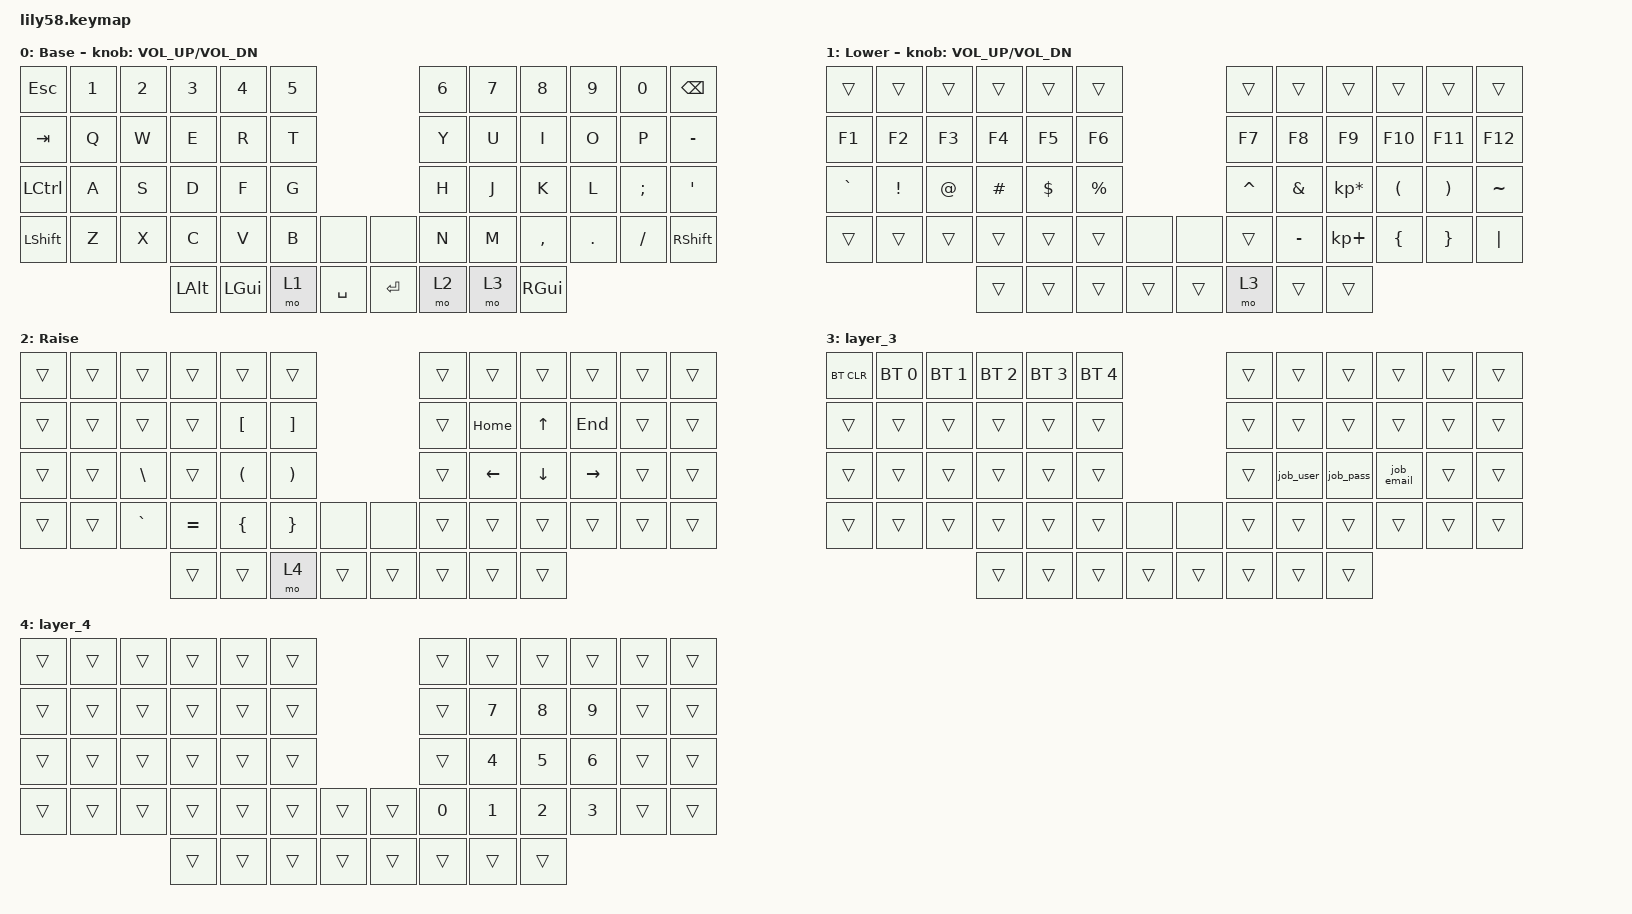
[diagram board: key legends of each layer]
/*
 * Copyright (c) 2020 The ZMK Contributors
 *
 * SPDX-License-Identifier: MIT
 */

#include <behaviors.dtsi>
#include <dt-bindings/zmk/bt.h>
#include <dt-bindings/zmk/keys.h>

/ {
    macros {
        job_user: job_user {
            compatible = "zmk,behavior-macro";
            #binding-cells = <0>;
            bindings = <&kp J &kp U &kp A &kp A &kp R &kp I &kp A &kp S>;
            label = "JOB_USER";
        };

        job_pass: job_pass {
            compatible = "zmk,behavior-macro";
            #binding-cells = <0>;
            bindings = <&kp MINUS &kp LS(S) &kp H &kp A &kp K &kp I &kp R &kp A &kp N0 &kp N9 &kp N8 &kp N7 &kp MINUS>;
            label = "JOB_PASS";
        };

        job_email: job_email {
            compatible = "zmk,behavior-macro";
            #binding-cells = <0>;
            bindings = <&kp J &kp U &kp A &kp N &kp DOT &kp J &kp A &kp R &kp I &kp A &kp S &kp AT &kp M &kp E &kp R &kp C &kp A &kp D &kp O &kp L &kp I &kp B &kp R &kp E &kp DOT &kp C &kp O &kp M &kp DOT &kp C &kp O>;
            label = "JOB_EMAIL";
        };
    };

    keymap {
        compatible = "zmk,keymap";

        default_layer {
            // ------------------------------------------------------------------------------------------------------------
            // |  ESC  |  1  |  2  |  3   |  4   |  5   |                   |  6   |  7    |  8    |  9   |   0   |   `   |
            // |  TAB  |  Q  |  W  |  E   |  R   |  T   |                   |  Y   |  U    |  I    |  O   |   P   |   -   |
            // |  CTRL |  A  |  S  |  D   |  F   |  G   |                   |  H   |  J    |  K    |  L   |   ;   |   '   |
            // | SHIFT |  Z  |  X  |  C   |  V   |  B   |   "["  |  |  "]"  |  N   |  M    |  ,    |  .   |   /   | SHIFT |
            //                     | ALT  | GUI  | LOWER|  SPACE |  | ENTER | RAISE| BSPC  | GUI   |

            display-name = "Base";
            bindings = <
&kp ESC    &kp N1  &kp N2  &kp N3    &kp N4    &kp N5                        &kp N6  &kp N7  &kp N8     &kp N9   &kp N0    &kp BACKSPACE
&kp TAB    &kp Q   &kp W   &kp E     &kp R     &kp T                         &kp Y   &kp U   &kp I      &kp O    &kp P     &kp MINUS
&kp LCTRL  &kp A   &kp S   &kp D     &kp F     &kp G                         &kp H   &kp J   &kp K      &kp L    &kp SEMI  &kp SQT
&kp LSHFT  &kp Z   &kp X   &kp C     &kp V     &kp B   &none        &none    &kp N   &kp M   &kp COMMA  &kp DOT  &kp FSLH  &kp RSHFT
                           &kp LALT  &kp LGUI  &mo 1   &kp SPACE    &kp RET  &mo 2   &mo 3   &kp RGUI
            >;

            sensor-bindings = <&inc_dec_kp C_VOLUME_UP C_VOL_DN>;
        };

        lower_layer {
            // ------------------------------------------------------------------------------------------------------------
            // | BTCLR | BT1 | BT2 |  BT3 |  BT4 |  BT5 |                   |      |       |       |      |       |       |
            // |  F1   |  F2 |  F3 |  F4  |  F5  |  F6  |                   |  F7  |  F8   |  F9   |  F10 |  F11  |  F12  |
            // |   `   |  !  |  @  |  #   |  $   |  %   |                   |  ^   |  &    |  *    |  (   |   )   |   ~   |
            // |       |     |     |      |      |      |        |  |       |      |  _    |  +    |  {   |   }   |  "|"  |
            //                     |      |      |      |        |  |       |      |       |       |

            display-name = "Lower";
            bindings = <
&trans     &trans    &trans  &trans    &trans      &trans                       &trans     &trans     &trans           &trans    &trans    &trans
&kp F1     &kp F2    &kp F3  &kp F4    &kp F5      &kp F6                       &kp F7     &kp F8     &kp F9           &kp F10   &kp F11   &kp F12
&kp GRAVE  &kp EXCL  &kp AT  &kp HASH  &kp DOLLAR  &kp PRCNT                    &kp CARET  &kp AMPS   &kp KP_MULTIPLY  &kp LPAR  &kp RPAR  &kp TILDE
&trans     &trans    &trans  &trans    &trans      &trans     &none     &none   &trans     &kp MINUS  &kp KP_PLUS      &kp LBRC  &kp RBRC  &kp PIPE
                             &trans    &trans      &trans     &trans    &trans  &mo 3      &trans     &trans
            >;

            sensor-bindings = <&inc_dec_kp C_VOL_UP C_VOL_DN>;
        };

        raise_layer {
            // ------------------------------------------------------------------------------------------------------------
            // |       |     |     |      |      |      |                   |      |       |       |      |       |       |
            // |   `   |  1  |  2  |  3   |  4   |  5   |                   |  6   |   7   |   8   |  9   |   0   |       |
            // |   F1  |  F2 |  F3 |  F4  |  F5  |  F6  |                   |      |   <-  |   v   |  ^   |  ->   |       |
            // |   F7  |  F8 |  F9 |  F10 |  F11 |  F12 |        |  |       |  +   |   -   |   =   |  [   |   ]   |   \   |
            //                     |      |      |      |        |  |       |      |       |       |

            display-name = "Raise";
            bindings = <
&trans  &trans  &trans         &trans     &trans                &trans                                   &trans  &trans    &trans    &trans           &trans  &trans
&trans  &trans  &trans         &trans     &kp LEFT_BRACKET      &kp RIGHT_BRACKET                        &trans  &kp HOME  &kp UP    &kp END          &trans  &trans
&trans  &trans  &kp BACKSLASH  &trans     &kp LEFT_PARENTHESIS  &kp RIGHT_PARENTHESIS                    &trans  &kp LEFT  &kp DOWN  &kp RIGHT_ARROW  &trans  &trans
&trans  &trans  &kp GRAVE      &kp EQUAL  &kp LEFT_BRACE        &kp RIGHT_BRACE        &none     &none   &trans  &trans    &trans    &trans           &trans  &trans
                               &trans     &trans                &mo 4                  &trans    &trans  &trans  &trans    &trans
            >;
        };

        layer_3 {
            bindings = <
&bt BT_CLR  &bt BT_SEL 0  &bt BT_SEL 1  &bt BT_SEL 2  &bt BT_SEL 3  &bt BT_SEL 4                    &trans  &trans     &trans     &trans      &trans  &trans
&trans      &trans        &trans        &trans        &trans        &trans                          &trans  &trans     &trans     &trans      &trans  &trans
&trans      &trans        &trans        &trans        &trans        &trans                          &trans  &job_user  &job_pass  &job_email  &trans  &trans
&trans      &trans        &trans        &trans        &trans        &trans        &none     &none   &trans  &trans     &trans     &trans      &trans  &trans
                                        &trans        &trans        &trans        &trans    &trans  &trans  &trans     &trans
            >;
        };

        layer_4 {
            bindings = <
&trans  &trans  &trans  &trans  &trans  &trans                    &trans  &trans  &trans  &trans  &trans  &trans
&trans  &trans  &trans  &trans  &trans  &trans                    &trans  &kp N7  &kp N8  &kp N9  &trans  &trans
&trans  &trans  &trans  &trans  &trans  &trans                    &trans  &kp N4  &kp N5  &kp N6  &trans  &trans
&trans  &trans  &trans  &trans  &trans  &trans  &trans    &trans  &kp N0  &kp N1  &kp N2  &kp N3  &trans  &trans
                        &trans  &trans  &trans  &trans    &trans  &trans  &trans  &trans
            >;
        };
    };
};
